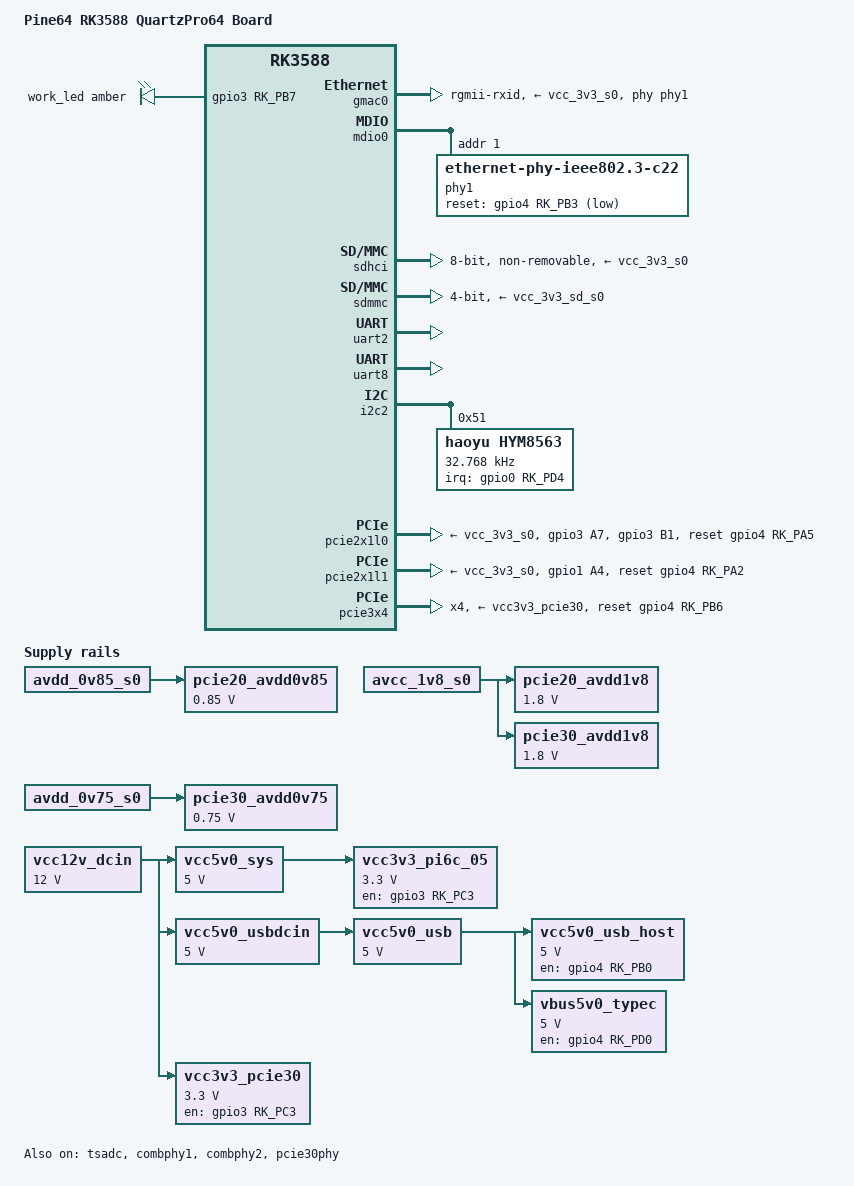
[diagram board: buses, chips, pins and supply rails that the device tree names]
// SPDX-License-Identifier: (GPL-2.0+ OR MIT)
/*
 * Copyright (c) 2021 Rockchip Electronics Co., Ltd.
 *
 */

/dts-v1/;

#include <dt-bindings/pinctrl/rockchip.h>
#include <dt-bindings/gpio/gpio.h>
#include <dt-bindings/leds/common.h>
#include <dt-bindings/interrupt-controller/irq.h>
#include "rk3588.dtsi"
#include "rk3588-rk806-dual.dtsi"

/ {
	model = "Pine64 RK3588 QuartzPro64 Board";
	compatible = "pine64,quartzpro64", "rockchip,rk3588";

	chosen {
		stdout-path = "serial2:1500000n8";
	};

	leds {
		compatible = "gpio-leds";
		work_led: led-0 {
			gpios = <&gpio3 RK_PB7 GPIO_ACTIVE_HIGH>;
			linux,default-trigger = "heartbeat";
			function = LED_FUNCTION_STATUS;
			color = <LED_COLOR_ID_AMBER>;
		};
	};

	vcc12v_dcin: vcc12v-dcin {
		compatible = "regulator-fixed";
		regulator-name = "vcc12v_dcin";
		regulator-always-on;
		regulator-boot-on;
		regulator-min-microvolt = <12000000>;
		regulator-max-microvolt = <12000000>;
	};

	vcc5v0_sys: vcc5v0-sys {
		compatible = "regulator-fixed";
		regulator-name = "vcc5v0_sys";
		regulator-always-on;
		regulator-boot-on;
		regulator-min-microvolt = <5000000>;
		regulator-max-microvolt = <5000000>;
		vin-supply = <&vcc12v_dcin>;
	};

	vcc5v0_usbdcin: vcc5v0-usbdcin {
		compatible = "regulator-fixed";
		regulator-name = "vcc5v0_usbdcin";
		regulator-always-on;
		regulator-boot-on;
		regulator-min-microvolt = <5000000>;
		regulator-max-microvolt = <5000000>;
		vin-supply = <&vcc12v_dcin>;
	};

	vcc5v0_usb: vcc5v0-usb {
		compatible = "regulator-fixed";
		regulator-name = "vcc5v0_usb";
		regulator-always-on;
		regulator-boot-on;
		regulator-min-microvolt = <5000000>;
		regulator-max-microvolt = <5000000>;
		vin-supply = <&vcc5v0_usbdcin>;
	};

	vcc5v0_usb_host: vcc5v0-usb-host {
		compatible = "regulator-fixed";
		regulator-name = "vcc5v0_usb_host";
		regulator-boot-on;
		regulator-always-on;
		regulator-min-microvolt = <5000000>;
		regulator-max-microvolt = <5000000>;
		enable-active-high;
		gpio = <&gpio4 RK_PB0 GPIO_ACTIVE_HIGH>;
		vin-supply = <&vcc5v0_usb>;
		pinctrl-names = "default";
		pinctrl-0 = <&vcc5v0_usb_host_en_h>;
	};

	vcc3v3_pi6c_05: vcc3v3-pi6c-05-regulator {
		compatible = "regulator-fixed";
		regulator-name = "vcc3v3_pi6c_05";
		regulator-min-microvolt = <3300000>;
		regulator-max-microvolt = <3300000>;
		enable-active-high;
		gpios = <&gpio3 RK_PC3 GPIO_ACTIVE_HIGH>;
		startup-delay-us = <5000>;
		vin-supply = <&vcc5v0_sys>;
	};

	vcc3v3_pcie30: vcc3v3-pcie30-regulator {
		compatible = "regulator-fixed";
		regulator-name = "vcc3v3_pcie30";
		regulator-min-microvolt = <3300000>;
		regulator-max-microvolt = <3300000>;
		enable-active-high;
		pinctrl-0 = <&pcie30x4_pwren_h>;
		pinctrl-names = "default";
		gpios = <&gpio3 RK_PC3 GPIO_ACTIVE_HIGH>;
		startup-delay-us = <5000>;
		vin-supply = <&vcc12v_dcin>;
	};

	vbus5v0_typec: vbus5v0-typec {
		compatible = "regulator-fixed";
		regulator-name = "vbus5v0_typec";
		regulator-min-microvolt = <5000000>;
		regulator-max-microvolt = <5000000>;
		enable-active-high;
		gpio = <&gpio4 RK_PD0 GPIO_ACTIVE_HIGH>;
		vin-supply = <&vcc5v0_usb>;
		pinctrl-names = "default";
		pinctrl-0 = <&vcc5v0_usbc_host_en_h>;
	};

	pcie20_avdd0v85: pcie20-avdd0v85 {
		compatible = "regulator-fixed";
		regulator-name = "pcie20_avdd0v85";
		regulator-boot-on;
		regulator-always-on;
		regulator-min-microvolt = <850000>;
		regulator-max-microvolt = <850000>;
		vin-supply = <&avdd_0v85_s0>;
	};

	pcie20_avdd1v8: pcie20-avdd1v8 {
		compatible = "regulator-fixed";
		regulator-name = "pcie20_avdd1v8";
		regulator-boot-on;
		regulator-always-on;
		regulator-min-microvolt = <1800000>;
		regulator-max-microvolt = <1800000>;
		vin-supply = <&avcc_1v8_s0>;
	};

	pcie30_avdd0v75: pcie30-avdd0v75 {
		compatible = "regulator-fixed";
		regulator-name = "pcie30_avdd0v75";
		regulator-boot-on;
		regulator-always-on;
		regulator-min-microvolt = <750000>;
		regulator-max-microvolt = <750000>;
		vin-supply = <&avdd_0v75_s0>;
	};

	pcie30_avdd1v8: pcie30-avdd1v8 {
		compatible = "regulator-fixed";
		regulator-name = "pcie30_avdd1v8";
		regulator-boot-on;
		regulator-always-on;
		regulator-min-microvolt = <1800000>;
		regulator-max-microvolt = <1800000>;
		vin-supply = <&avcc_1v8_s0>;
	};
};

&cpu_l0 {
	cpu-supply = <&vdd_cpu_lit_s0>;
	mem-supply = <&vdd_cpu_lit_mem_s0>;
};

&cpu_b0 {
	cpu-supply = <&vdd_cpu_big0_s0>;
	mem-supply = <&vdd_cpu_big0_mem_s0>;
};

&cpu_b2 {
	cpu-supply = <&vdd_cpu_big1_s0>;
	mem-supply = <&vdd_cpu_big1_mem_s0>;
};

&tsadc {
	status = "okay";
};

&gpu {
	mali-supply = <&vdd_gpu_s0>;
	mem-supply = <&vdd_gpu_mem_s0>;
	status = "disabled";
};

&gmac0 {
	label = "RJ45";
	phy-mode = "rgmii-rxid";
	clock_in_out = "output";

	pinctrl-names = "default";
	pinctrl-0 = <&gmac0_miim
		     &gmac0_tx_bus2
		     &gmac0_rx_bus2
		     &gmac0_rgmii_clk
		     &gmac0_rgmii_bus>;

	tx_delay = <0x43>;
	rx_delay = <0x00>;

	phy-handle = <&phy1>;
	phy-supply = <&vcc_3v3_s0>;
	status = "okay";
};

&mdio0 {
	phy1: ethernet-phy@1 {
		compatible = "ethernet-phy-ieee802.3-c22";
		reg = <1>;
		max-speed = <1000>;
		/* Reset time is 20ms, 100ms for rtl8211f */
		reset-gpios = <&gpio4 RK_PB3 GPIO_ACTIVE_LOW>;
		reset-assert-us = <20000>;
		reset-deassert-us = <100000>;
	};
};

&sdhci {
	bus-width = <8>;
	no-sdio;
	no-sd;
	non-removable;
	max-frequency = <150000000>;
	mmc-hs200-1_8v;
	// mmc-hs400-1_8v;
	// mmc-hs400-enhanced-strobe;
	vmmc-supply = <&vcc_3v3_s0>;
	vqmmc-supply = <&vcc_1v8_s0>;
	pinctrl-names = "default";
	pinctrl-0 = <&emmc_bus8
		     &emmc_clk
		     &emmc_cmd
		     &emmc_data_strobe
		     &emmc_rstnout>;
	status = "okay";
};

&sdmmc {
	max-frequency = <150000000>;
	no-sdio;
	no-mmc;
	bus-width = <4>;
	cap-sd-highspeed;
	sd-uhs-sdr104;
	disable-wp;
	vmmc-supply = <&vcc_3v3_sd_s0>;
	vqmmc-supply = <&vccio_sd_s0>;
	pinctrl-names = "default";
	pinctrl-0 = <&sdmmc_bus4 &sdmmc_clk &sdmmc_cmd &sdmmc_det>;
	status = "okay";
};

&uart2 {
	pinctrl-names = "default";
	pinctrl-0 = <&uart2m0_xfer>;
	status = "okay";
};

&uart8 {
	status = "okay";
	pinctrl-names = "default";
	pinctrl-0 = <&uart8m1_xfer &uart8m1_rtsn>;
	uart-has-rtscts;

	bluetooth {
		compatible = "brcm,bcm4375-bt";
		max-speed = <921600>;
		clocks = <&hym8563>;
		clock-names = "lpo";
		pinctrl-names = "default";
		pinctrl-0 = <&bt_pwren_gpio &bt_wake_gpio &bt_irq_gpio>;
		shutdown-gpios = <&gpio3 RK_PA6 GPIO_ACTIVE_HIGH>;
		device-wakeup-gpios = <&gpio3 RK_PA1 GPIO_ACTIVE_HIGH>;
		interrupt-parent = <&gpio3>;
		interrupts = <RK_PA0 GPIO_ACTIVE_HIGH>;
		status = "disabled";
	};
};

&i2c2 {
	status = "okay";

	hym8563: hym8563@51 {
		compatible = "haoyu,hym8563";
		reg = <0x51>;
		#clock-cells = <0>;
		clock-frequency = <32768>;
		clock-output-names = "hym8563";
		pinctrl-names = "default";
		pinctrl-0 = <&hym8563_int>;
		interrupt-parent = <&gpio0>;
		interrupts = <RK_PD4 IRQ_TYPE_LEVEL_LOW>;
		wakeup-source;
	};
};

&combphy1 {
	// pinctrl-names = "default";
	// pinctrl-0 = <&pcie30x1m1_pins>;
	phy-supply = <&vcc3v3_pi6c_05>;
	status = "okay";
};

&pcie2x1l0 {
	reset-gpios = <&gpio4 RK_PA5 GPIO_ACTIVE_HIGH>;
	vpcie3v3-supply = <&vcc_3v3_s0>;
	pinctrl-0 = <&wifi_wake_host_h &wifi_pwr_en_h>;
	pinctrl-names = "default";
	status = "okay";

	// ap6275p: wifi@0,0 {
	// 	compatible = "brcm,bcm43455";
	// 	reg = <0x0000 0 0 0 0>;
	// 	pinctrl-0 = <&wifi_wake_host_h &wifi_pwr_en_h>;
	// 	pinctrl-names = "default";
	// 	wakeup-source;
	// 	interrupt-parent = <&gpio3>;
	// 	interrupts = <RK_PA7 IRQ_TYPE_LEVEL_HIGH>;
	// 	reset-gpios = <&gpio3 RK_PB1 GPIO_ACTIVE_LOW>;
	// };
};

&combphy2 {
	// pinctrl-names = "default";
	// pinctrl-0 = <&pcie30x1m1_pins>;
	phy-supply = <&vcc3v3_pi6c_05>;
	status = "okay";
};

&pcie2x1l1 {
	reset-gpios = <&gpio4 RK_PA2 GPIO_ACTIVE_HIGH>;
	pinctrl-names = "default";
	pinctrl-0 = <&rtl8111_isolate>;
	vpcie3v3-supply = <&vcc_3v3_s0>;
	status = "okay";
};

&pcie30phy {
	data-lanes = <1 1 1 1>;
	// pinctrl-names = "default";
	// pinctrl-0 = <&pcie30x4m1_pins>;
	phy-supply = <&vcc3v3_pi6c_05>;
	status = "okay";
};

&pcie3x4 {
	/* PCIe 3.0 x4 open-ended slot */
	num-lanes = <4>;
	reset-gpios = <&gpio4 RK_PB6 GPIO_ACTIVE_HIGH>;
	vpcie3v3-supply = <&vcc3v3_pcie30>;
	status = "okay";
};

&pinctrl {
	hym8563 {
		hym8563_int: hym8563-int {
			rockchip,pins = <0 RK_PD4 RK_FUNC_GPIO &pcfg_pull_up>;
		};
	};

	rtl8111 {
		rtl8111_isolate: rtl8111-isolate {
			rockchip,pins = <1 RK_PA4 RK_FUNC_GPIO &pcfg_pull_up>;
		};
	};

	pcie30x4 {
		pcie30x4_pwren_h: pcie30x4-pwren-h {
			rockchip,pins = <3 RK_PC3 RK_FUNC_GPIO &pcfg_pull_none>;
		};
	};

	usb {
		vcc5v0_usb_host_en_h: vcc5v0-usb-host-en-h {
			rockchip,pins = <4 RK_PB0 RK_FUNC_GPIO &pcfg_pull_none>;
		};
	};

	usb-typec {
		usbc0_int: usbc0-int {
			rockchip,pins = <3 RK_PB4 RK_FUNC_GPIO &pcfg_pull_up>;
		};

		vcc5v0_usbc_host_en_h: typec5v-pwren {
			rockchip,pins = <0 RK_PC5 RK_FUNC_GPIO &pcfg_pull_none>;
		};
	};

	wireless-bluetooth {
		bt_pwren_gpio: bt-pwren-gpio {
			rockchip,pins = <3 RK_PA6 RK_FUNC_GPIO &pcfg_pull_none>;
		};

		bt_wake_gpio: bt-wake-gpio {
			rockchip,pins = <3 RK_PA1 RK_FUNC_GPIO &pcfg_pull_none>;
		};

		bt_irq_gpio: bt-irq-gpio {
			rockchip,pins = <3 RK_PA0 RK_FUNC_GPIO &pcfg_pull_down>;
		};
	};

	wireless-wlan {
		wifi_wake_host_h: wifi-wake-host-h {
			rockchip,pins = <3 RK_PA7 RK_FUNC_GPIO &pcfg_pull_down>;
		};

		wifi_pwr_en_h: wifi-pwren-h {
			rockchip,pins = <3 RK_PB1 RK_FUNC_GPIO &pcfg_pull_up>;
		};
	};
};
